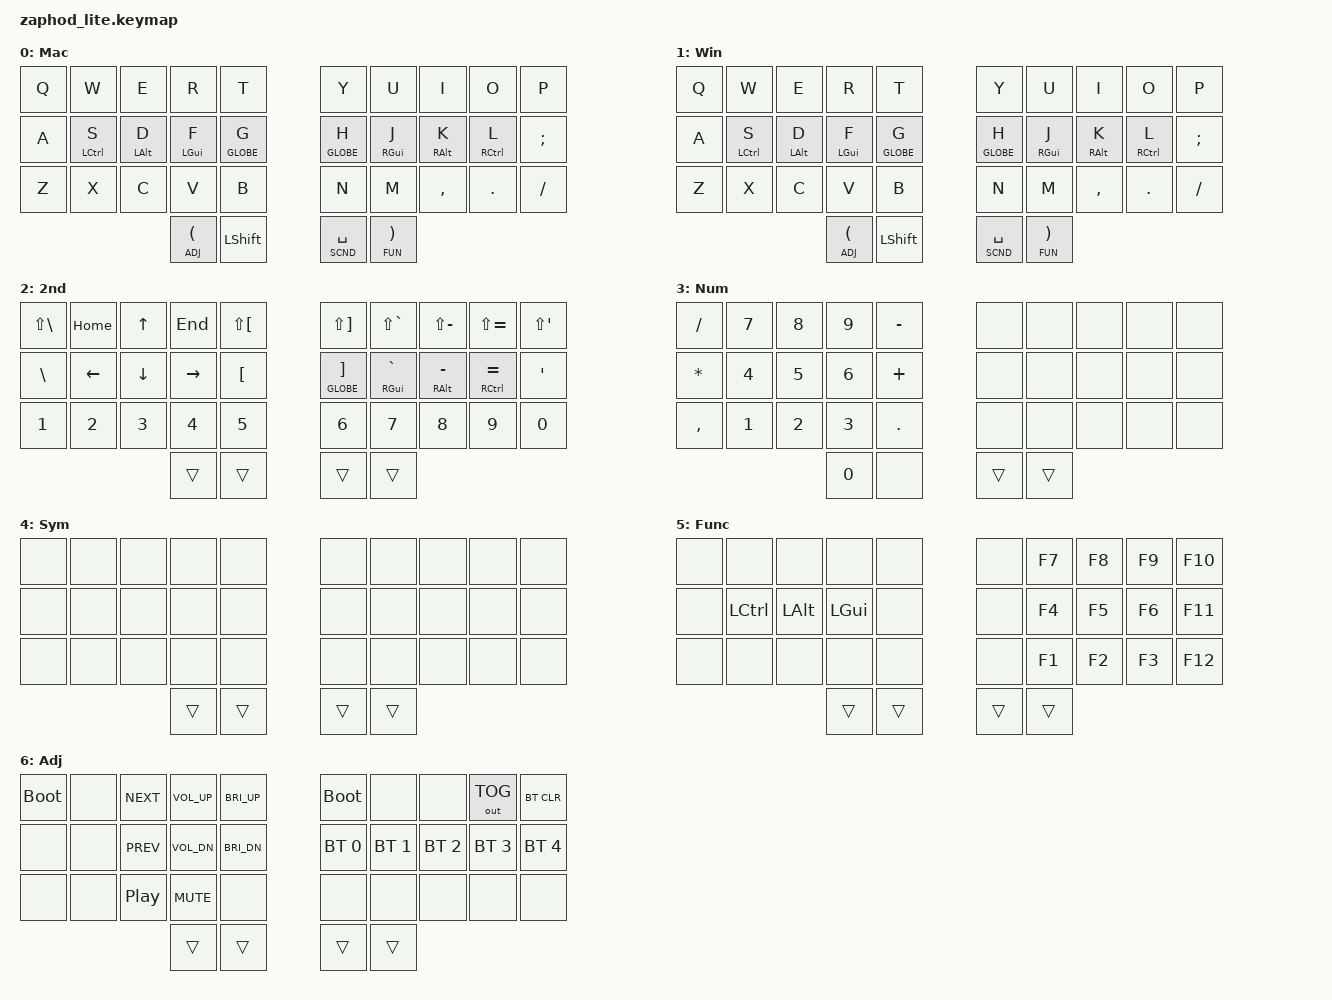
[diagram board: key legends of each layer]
/*
 * Copyright (c) 2021 Pete Johanson
 *
 * SPDX-License-Identifier: MIT
 */

#include <behaviors.dtsi>
#include <dt-bindings/zmk/keys.h>
#include <dt-bindings/zmk/bt.h>
#include <dt-bindings/zmk/outputs.h>

#define MAC  0
#define WIN  1
#define SCND 2
#define NUM  3
#define SYM  4
#define FUN  5
#define ADJ  6

/ {
        behaviors {
                hm: homerow_mods {
                        compatible = "zmk,behavior-hold-tap";
                        label = "HOMEROW_MODS";
                        #binding-cells = <2>;
                        tapping-term-ms = <200>;
                        quick-tap-ms = <200>;
                        require-prior-idle-ms = <150>;
                        flavor = "tap-preferred";
                        bindings = <&kp>, <&kp>;
                };

                bspc_del: backspace_delete {
                        compatible = "zmk,behavior-mod-morph";
                        label = "BACKSPACE_DELETE";
                        #binding-cells = <0>;
                        bindings = <&kp BACKSPACE>, <&kp DELETE>;
                        mods = <(MOD_LSFT|MOD_RSFT)>;
                        keep-mods = <(MOD_RSFT)>;
                };

                td_num_layer: tap_dance_num_layer {
                        compatible = "zmk,behavior-tap-dance";
                        #binding-cells = <0>;
                        tapping-term-ms = <200>;
                        bindings = <&mo NUM>, <&tog NUM>;
                };

                td_l_brackets: tap_dance_left_brackets {
                    compatible = "zmk,behavior-tap-dance";
                    #binding-cells = <0>;
                    tapping-term-ms = <200>;
                    bindings = <&kp LPAR>, <&kp LBKT>, <&kp LS(LBKT)>;
                };

                td_r_brackets: tap_dance_right_brackets {
                    compatible = "zmk,behavior-tap-dance";
                    #binding-cells = <0>;
                    tapping-term-ms = <200>;
                    bindings = <&kp RPAR>, <&kp RBKT>, <&kp LS(RBKT)>;
                };
        };

        combos {
        compatible = "zmk,combos";

        combo_escape {
            timeout-ms = <50>;
            key-positions = <11 12>;
            bindings = <&kp ESC>;
        };

        combo_tab {
            timeout-ms = <50>;
            key-positions = <12 13>;
            bindings = <&kp TAB>;
        };

        combo_backspace {
            timeout-ms = <50>;
            key-positions = <16 17>;
            bindings = <&bspc_del>;
        };

        combo_enter {
            timeout-ms = <50>;
            key-positions = <17 18>;
            bindings = <&kp ENTER>;
        };

        // Shortcut and Macro combos
        combo_undo_mac{
            timeout-ms = <50>;
            key-positions = <20 21>;
            bindings = <&kp LG(Z)>;
            layers = <MAC>;
        };

        combo_undo_win{
            timeout-ms = <50>;
            key-positions = <20 21>;
            bindings = <&kp LC(Z)>;
            layers = <WIN>;
        };

        combo_cut_mac{
            timeout-ms = <50>;
            key-positions = <21 22>;
            bindings = <&kp LG(X)>;
            layers = <MAC>;
        };

        combo_cut_win{
            timeout-ms = <50>;
            key-positions = <21 22>;
            bindings = <&kp LC(X)>;
            layers = <WIN>;
        };

        combo_copy_mac{
            timeout-ms = <50>;
            key-positions = <22 23>;
            bindings = <&kp LG(C)>;
            layers = <MAC>;
        };

        combo_copy_win{
            timeout-ms = <50>;
            key-positions = <22 23>;
            bindings = <&kp LC(C)>;
            layers = <WIN>;
        };

        combo_paste_mac{
            timeout-ms = <50>;
            key-positions = <23 24>;
            bindings = <&kp LG(V)>;
            layers = <MAC>;
        };

        combo_paste_win{
            timeout-ms = <50>;
            key-positions = <23 24>;
            bindings = <&kp LC(V)>;
            layers = <WIN>;
        };

        combo_delete_word_mac{
            timeout-ms = <50>;
            key-positions = <15 16>;
            bindings = <&kp LA(BACKSPACE)>;
            layers = <MAC>;
        };

        combo_delete_word_win{
            timeout-ms = <50>;
            key-positions = <15 16>;
            bindings = <&kp LC(BACKSPACE)>;
            layers = <WIN>;
        };

        combo_left{
            timeout-ms = <50>;
            key-positions = <5 15>;
            bindings = <&kp LEFT>;
        };

        combo_down{
            timeout-ms = <50>;
            key-positions = <6 16>;
            bindings = <&kp DOWN>;
        };

        combo_up{
            timeout-ms = <50>;
            key-positions = <7 17>;
            bindings = <&kp UP>;
        };

        combo_right{
            timeout-ms = <50>;
            key-positions = <8 18>;
            bindings = <&kp RIGHT>;
        };

        combo_left_desktop_mac {
            timeout-ms = <50>;
            key-positions = <26 27>;
            bindings = <&kp LC(LEFT_ARROW)>;
            layers = <MAC>;
        };

        combo_right_desktop_mac {
            timeout-ms = <50>;
            key-positions = <27 28>;
            bindings = <&kp LC(RIGHT_ARROW)>;
            layers = <MAC>;
        };

        combo_left_desktop_win {
            timeout-ms = <50>;
            key-positions = <26 27>;
            bindings = <&kp LC(LG(LEFT_ARROW))>;
            layers = <WIN>;
        };

        combo_right_desktop_win {
            timeout-ms = <50>;
            key-positions = <27 28>;
            bindings = <&kp LC(LG(RIGHT_ARROW))>;
            layers = <WIN>;
        };

        comb_lgui  {
            timeout-ms = <50>;
            key-positions = <28 29>;
            bindings = <&kp LGUI>;
            layers = <WIN>;
        };

        // Other Combos
        combo_layout_change {
            timeout-ms = <50>;
            key-positions = <30 33>;
            bindings = <&tog WIN>;
        };
    };

        keymap {
                compatible = "zmk,keymap";

                mac_layer {
                        display-name = "Mac";
                        bindings = <
                                        &kp Q &kp W       &kp E      &kp R      &kp T         &kp Y       &kp U      &kp I      &kp O       &kp P
                                        &kp A &hm LCTRL S &hm LALT D &hm LGUI F &hm GLOBE G   &hm GLOBE H &hm RGUI J &hm RALT K &hm RCTRL L &kp SEMI
                                        &kp Z &kp X       &kp C      &kp V      &kp B   &kp N &kp M      &kp COMMA  &kp DOT     &kp FSLH
                                                                &lt ADJ LPAR &kp LSHFT   &lt SCND SPACE &lt FUN RPAR
                                >;
                };

                win_layer {
                        display-name = "Win";
                        bindings = <
                                        &kp Q &kp W       &kp E      &kp R      &kp T         &kp Y       &kp U      &kp I      &kp O       &kp P
                                        &kp A &hm LCTRL S &hm LALT D &hm LGUI F &hm GLOBE G   &hm GLOBE H &hm RGUI J &hm RALT K &hm RCTRL L &kp SEMI
                                        &kp Z &kp X       &kp C      &kp V      &kp B         &kp N       &kp M      &kp COMMA  &kp DOT     &kp FSLH
                                                                &lt ADJ LPAR &kp LSHFT         &lt SCND SPACE &lt FUN RPAR
                                >;
                };

                secondary_layer {
                        display-name = "2nd";
                        bindings = <
                                &kp LS(BSLH) &kp HOME &kp UP   &kp END   &kp LS(LBKT)    &kp LS(RBKT)   &kp LS(GRAVE)  &kp LS(MINUS)  &kp LS(EQUAL)   &kp LS(SQT)
                                &kp BSLH     &kp LEFT &kp DOWN &kp RIGHT &kp LBKT        &hm GLOBE RBKT &hm RGUI GRAVE &hm RALT MINUS &hm RCTRL EQUAL &kp SQT
                                &kp N1       &kp N2   &kp N3   &kp N4    &kp N5          &kp N6         &kp N7         &kp N8         &kp N9          &kp N0
                                                            &trans &trans          &trans &trans
                        >;
                };

                number_layer {
                        display-name = "Num";
                        bindings = <
                                   &kp FSLH  &kp N7 &kp N8 &kp N9 &kp MINUS   &none &none &none &none &none
                                   &kp ASTRK &kp N4 &kp N5 &kp N6 &kp PLUS    &none &none &none &none &none
                                   &kp COMMA &kp N1 &kp N2 &kp N3 &kp DOT     &none &none &none &none &none
                                                               &kp N0 &none   &trans &trans
                        >;
                };

                symbol_layer {
                        display-name = "Sym";
                        bindings = <
                                &none &none &none &none &none   &none &none &none &none &none
                                &none &none &none &none &none   &none &none &none &none &none
                                &none &none &none &none &none   &none &none &none &none &none
                                                &trans &trans   &trans &trans
                        >;
                };

                function_layer {
                        display-name = "Func";
                        bindings = <
                                &none &none     &none    &none    &none   &none &kp F7 &kp F8 &kp F9 &kp F10
                                &none &kp LCTRL &kp LALT &kp LGUI &none   &none &kp F4 &kp F5 &kp F6 &kp F11
                                &none &none     &none    &none    &none   &none &kp F1 &kp F2 &kp F3 &kp F12
                                                          &trans &trans   &trans &trans
                        >;
                };

                adjust_layer {
                        display-name = "Adj";
                        bindings = <
                                &bootloader &none &kp C_NEXT       &kp C_VOL_UP &kp C_BRI_UP   &bootloader  &none        &none        &out OUT_TOG &bt BT_CLR
                                &none       &none &kp C_PREV       &kp C_VOL_DN &kp C_BRI_DN   &bt BT_SEL 0 &bt BT_SEL 1 &bt BT_SEL 2 &bt BT_SEL 3 &bt BT_SEL 4
                                &none       &none &kp C_PLAY_PAUSE &kp C_MUTE   &none          &none        &none        &none        &none        &none
                                                                         &trans &trans   &trans &trans
                        >;
                };
        };
};
